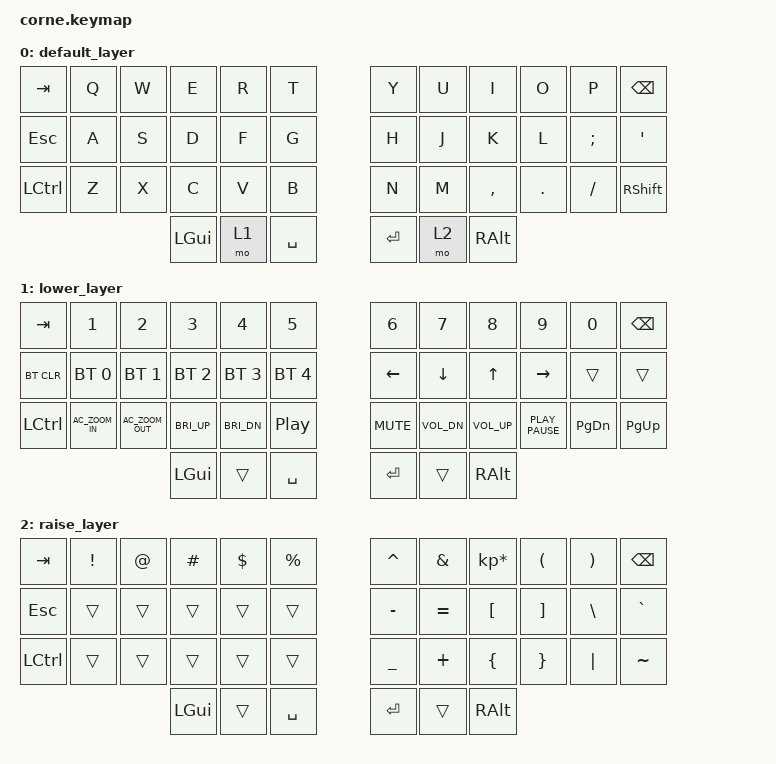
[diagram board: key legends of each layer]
/*
 * Copyright (c) 2020 The ZMK Contributors
 *
 * SPDX-License-Identifier: MIT
 */

#include <behaviors.dtsi>
#include <dt-bindings/zmk/keys.h>
#include <dt-bindings/zmk/bt.h>

/ {
        keymap {
                compatible = "zmk,keymap";

                default_layer {
// -----------------------------------------------------------------------------------------
// |  TAB |  Q  |  W  |  E  |  R  |  T  |   |  Y  |  U   |  I  |  O  |  P  | BKSP |
// | ESC |  A  |  S  |  D  |  F  |  G  |   |  H  |  J   |  K  |  L  |  ;  |  '   |
// | CTRL |  Z  |  X  |  C  |  V  |  B  |   |  N  |  M   |  ,  |  .  |  /  | SHIFT |
//                    | GUI | LWR | SPC |   | ENT | RSE  | ALT |
                        bindings = <
   &kp TAB   &kp Q &kp W &kp E &kp R &kp T   &kp Y &kp U  &kp I     &kp O   &kp P    &kp BSPC
   &kp ESC &kp A &kp S &kp D &kp F &kp G   &kp H &kp J  &kp K     &kp L   &kp SEMI &kp SQT
   &kp LCTRL &kp Z &kp X &kp C &kp V &kp B   &kp N &kp M  &kp COMMA &kp DOT &kp FSLH &kp RSHIFT
                  &kp LGUI &mo 1 &kp SPACE   &kp RET &mo 2 &kp RALT
                        >;
                };
                lower_layer {
// -----------------------------------------------------------------------------------------
// |  TAB |  1  |  2  |  3  |  4  |  5  |   |  6  |  7  |  8  |  9  |  0  | BKSP |
// | BTCLR| BT1 | BT2 | BT3 | BT4 | BT5 |   | LFT | DWN |  UP | RGT |     |      |
// | CTRL |     |     |     |     |     |   |     |     |     |     |     |      |
//                    | GUI |     | SPC |   | ENT |     | ALT |
                        bindings = <
   &kp TAB    &kp N1       &kp N2       &kp N3       &kp N4       &kp N5         &kp N6   &kp N7   &kp N8 &kp N9    &kp N0 &kp BSPC
   &bt BT_CLR &bt BT_SEL 0 &bt BT_SEL 1 &bt BT_SEL 2 &bt BT_SEL 3 &bt BT_SEL 4   &kp LEFT &kp DOWN &kp UP &kp RIGHT &trans &trans
   &kp LCTRL  &kp C_AC_ZOOM_IN   &kp C_AC_ZOOM_OUT  &kp C_BRI_UP  &kp C_BRI_DN   &kp C_PP      &kp C_MUTE  &kp C_VOL_DN   &kp C_VOL_UP   &kp K_PLAY_PAUSE &kp PAGE_DOWN     &kp PAGE_UP
                          	        &kp LGUI     &trans       &kp SPACE      &kp RET  &trans   &kp RALT
                        >;
                };

                raise_layer {
// -----------------------------------------------------------------------------------------
// |  TAB |  !  |  @  |  #  |  $  |  %  |   |  ^  |  &  |  *  |  (  |  )  | BKSP |
// | ESC |     |     |     |     |     |   |  -  |  =  |  [  |  ]  |  \  |  `   |
// | CTRL |     |     |     |     |     |   |  _  |  +  |  {  |  }  | "|" |  ~   |
//                    | GUI |     | SPC |   | ENT |     | ALT |
                        bindings = <
   &kp  TAB  &kp EXCL &kp AT &kp HASH &kp DLLR &kp PRCNT   &kp CARET &kp AMPS  &kp KP_MULTIPLY &kp LPAR &kp RPAR &kp BSPC
   &kp ESC &trans   &trans &trans   &trans   &trans      &kp MINUS &kp EQUAL &kp LBKT        &kp RBKT &kp BSLH &kp GRAVE
   &kp LCTRL &trans   &trans &trans   &trans   &trans      &kp UNDER &kp PLUS  &kp LBRC        &kp RBRC &kp PIPE &kp TILDE
                    	     &kp LGUI &trans   &kp SPACE   &kp RET   &trans    &kp RALT
                        >;
                };
        };
};
